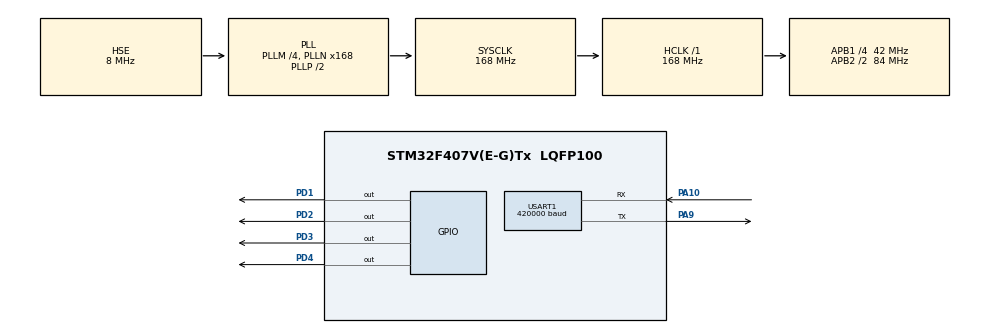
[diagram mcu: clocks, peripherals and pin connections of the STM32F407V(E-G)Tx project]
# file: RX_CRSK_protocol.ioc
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Dma.Request0=USART1_TX
Dma.USART1_TX.0.Direction=DMA_MEMORY_TO_PERIPH
Dma.USART1_TX.0.FIFOMode=DMA_FIFOMODE_DISABLE
Dma.USART1_TX.0.Instance=DMA2_Stream7
Dma.USART1_TX.0.MemDataAlignment=DMA_MDATAALIGN_BYTE
Dma.USART1_TX.0.MemInc=DMA_MINC_ENABLE
Dma.USART1_TX.0.Mode=DMA_NORMAL
Dma.USART1_TX.0.PeriphDataAlignment=DMA_PDATAALIGN_BYTE
Dma.USART1_TX.0.PeriphInc=DMA_PINC_DISABLE
Dma.USART1_TX.0.Priority=DMA_PRIORITY_LOW
Mcu.Family=STM32F4
Mcu.Name=STM32F407V(E-G)Tx
Mcu.Package=LQFP100
NVIC.DMA2_Stream7_IRQn=true\:0\:0\:false\:false\:true\:false\:true\:true
NVIC.PriorityGroup=NVIC_PRIORITYGROUP_4
NVIC.TIM2_IRQn=true\:0\:0\:false\:false\:true\:true\:true\:true
NVIC.USART1_IRQn=true\:0\:0\:false\:false\:true\:true\:true\:true
PA10.Mode=Asynchronous
PA10.Signal=USART1_RX
PA13.Mode=Serial_Wire
PA13.Signal=SYS_JTMS-SWDIO
PA14.Mode=Serial_Wire
PA14.Signal=SYS_JTCK-SWCLK
PA9.Mode=Asynchronous
PA9.Signal=USART1_TX
PD1.Signal=GPIO_Output
PD2.Signal=GPIO_Output
PD3.Signal=GPIO_Output
PD4.Signal=GPIO_Output
PH0-OSC_IN.Mode=HSE-External-Oscillator
PH0-OSC_IN.Signal=RCC_OSC_IN
PH1-OSC_OUT.Mode=HSE-External-Oscillator
PH1-OSC_OUT.Signal=RCC_OSC_OUT
ProjectManager.HeapSize=0x200
ProjectManager.StackSize=0x400
ProjectManager.TargetToolchain=STM32CubeIDE
RCC.48MHZClocksFreq_Value=84000000
RCC.AHBFreq_Value=168000000
RCC.APB1CLKDivider=RCC_HCLK_DIV4
RCC.APB1Freq_Value=42000000
RCC.APB1TimFreq_Value=84000000
RCC.APB2CLKDivider=RCC_HCLK_DIV2
RCC.APB2Freq_Value=84000000
RCC.APB2TimFreq_Value=168000000
RCC.CortexFreq_Value=168000000
RCC.HCLKFreq_Value=168000000
RCC.HSE_VALUE=8000000
RCC.HSI_VALUE=16000000
RCC.LSE_VALUE=32768
RCC.PLLM=4
RCC.PLLN=168
RCC.PLLSourceVirtual=RCC_PLLSOURCE_HSE
RCC.SYSCLKFreq_VALUE=168000000
RCC.SYSCLKSource=RCC_SYSCLKSOURCE_PLLCLK
RCC.VCOOutputFreq_Value=336000000
TIM2.Period=10499
TIM2.Prescaler=7999
USART1.BaudRate=420000
USART1.VirtualMode=VM_ASYNC
VP_TIM2_VS_ClockSourceINT.Mode=Internal
board=custom

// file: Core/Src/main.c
/* USER CODE BEGIN Header */
/**
  ******************************************************************************
  * @file           : main.c
  * @brief          : Main program body
  ******************************************************************************
  * @attention
  *
  * Copyright (c) 2025 STMicroelectronics.
  * All rights reserved.
  *
  * This software is licensed under terms that can be found in the LICENSE file
  * in the root directory of this software component.
  * If no LICENSE file comes with this software, it is provided AS-IS.
  *
  ******************************************************************************
  */
/* USER CODE END Header */
#include "main.h"

/* USER CODE BEGIN Includes */
#include "ring.h"
#include "terseCRSF.h"
#include <string.h>
/* USER CODE END Includes */

/* USER CODE BEGIN PD */
#define UART_RX_BUF_SIZE 512
#define CRSF_FRAME_MAX_LEN 64
#define LED1_GPIO_Port GPIOD
#define LED1_Pin GPIO_PIN_1
#define LED2_GPIO_Port GPIOD
#define LED2_Pin GPIO_PIN_2
/* USER CODE END PD */

TIM_HandleTypeDef htim2;

UART_HandleTypeDef huart1;
DMA_HandleTypeDef hdma_usart1_tx;

/* USER CODE BEGIN PV */
RINGBUF uart_ring;
uint8_t uart_rx_buf[UART_RX_BUF_SIZE];

uint8_t crsf_buf[CRSF_FRAME_MAX_LEN];
uint8_t crsf_index = 0;
uint8_t crsf_frame_len = 0;

volatile uint16_t joystick_raw[CRSF_MAX_CHANNELS];
volatile int16_t joystick_pwm[CRSF_MAX_CHANNELS];

uint8_t uart_rx_byte;
int roll, pitch, yaw, throttle;

volatile uint32_t last_rc_frame_tick = 0;
volatile uint8_t link_connected = 0;

HAL_StatusTypeDef status;
HAL_StatusTypeDef status1;

uint16_t channels[16] = {992, 992, 992, 992, 992, 992, 992, 992, 992, 992, 992, 992, 992, 992, 992, 992};

crsf_battery_t g_battery;
/* USER CODE END PV */

void SystemClock_Config(void);
static void MX_GPIO_Init(void);
static void MX_DMA_Init(void);
static void MX_USART1_UART_Init(void);
static void MX_TIM2_Init(void);
/* USER CODE BEGIN PFP */
void crsf_poll_ringbuf_and_parse(void);
void crsf_process_frame(uint8_t* buf, uint8_t len);
/* USER CODE END PFP */

/* USER CODE BEGIN 0 */
void HAL_UART_RxCpltCallback(UART_HandleTypeDef *huart)
{
	if (huart->Instance == USART1) {
		RINGBUF_Put(&uart_ring, uart_rx_byte);
		HAL_UART_Receive_IT(&huart1, &uart_rx_byte, 1);
	}
}

void crsf_poll_ringbuf_and_parse(void)
{
	uint8_t b;
	while (RINGBUF_Get(&uart_ring, &b) == RING_OK)
	{
		if (crsf_index == 0) {
			if (b == 0xC8 || b == 0xEE) {
				crsf_buf[crsf_index++] = b;
				link_connected = 1;
			}
		}
		else if (crsf_index == 1) {
			crsf_buf[crsf_index++] = b;
			crsf_frame_len = b + 2; // Type + payload + CRC
			if (crsf_frame_len > CRSF_FRAME_MAX_LEN) {
				crsf_index = 0;
			}
		}
		else {
			crsf_buf[crsf_index++] = b;
			if (crsf_index >= crsf_frame_len) {
				if (crsf_check_frame(crsf_buf, crsf_frame_len)) {
					crsf_process_frame(crsf_buf, crsf_frame_len);
				}
				crsf_index = 0;
				crsf_frame_len = 0;
			}
		}
	}
}
void send_crsf_battery(UART_HandleTypeDef *huart, int voltage_mv, int current_ma, int capacity_mah, uint8_t percent)
{
    static uint8_t frame[12];
    uint8_t idx = 0;

    frame[idx++] = 0xC8;    // Sync (Flight Controller)
    frame[idx++] = 0x08;    // Length (type+payload+crc = 1+6+1)
    frame[idx++] = 0x08;    // Type: Battery

    // Voltage: LSB = 10uV
    int16_t v = voltage_mv / 10;  // 1mV = 100uV = 100/10 = 10uV
    frame[idx++] = (v >> 8) & 0xFF;
    frame[idx++] = v & 0xFF;

    // Current: LSB = 10uA
    int16_t c = current_ma * 100;  // 1mA = 100uA = 100*10uA
    frame[idx++] = (c >> 8) & 0xFF;
    frame[idx++] = c & 0xFF;

    // Capacity used: uint24_t (mAh)
    frame[idx++] = (capacity_mah >> 16) & 0xFF;
    frame[idx++] = (capacity_mah >> 8) & 0xFF;
    frame[idx++] = capacity_mah & 0xFF;

    // Remaining percent
    frame[idx++] = percent;

    // CRC8 (t? TYPE d?n h?t PAYLOAD, t?c là 1+6=7 bytes)
    frame[idx++] = crsf_crc8_dvb_s2_sbuf_accum(&frame[2], 7);

    status = HAL_UART_Transmit_DMA(huart, frame, idx);
}

void send_crsf_heartbeat(UART_HandleTypeDef *huart, uint16_t origin_addr)
{
    uint8_t frame[6];
    uint8_t idx = 0;

    frame[idx++] = 0xC8; // Sync byte
    frame[idx++] = 0x03; // Length (type+payload+crc = 1+2+1)
    frame[idx++] = 0x0B; // Type: Heartbeat

    // Origin address (big endian)
    frame[idx++] = (origin_addr >> 8) & 0xFF;
    frame[idx++] = origin_addr & 0xFF;

    // CRC8 (t? TYPE d?n h?t PAYLOAD, t?c là 1+2=3 bytes)
    frame[idx++] = crsf_crc8_dvb_s2_sbuf_accum(&frame[2], 3);

    status1 = HAL_UART_Transmit(huart, frame, idx, 10);
}
void crsf_process_frame(uint8_t* buf, uint8_t len)
{
	if (buf[2] == 0x16 && len >= 25) {  // Frame RC Channel
		uint16_t temp_channels[CRSF_MAX_CHANNELS] = {0};
		crsf_decode_channels(&buf[3], temp_channels);
		for (int i = 0; i < CRSF_MAX_CHANNELS; i++) {
			joystick_raw[i] = temp_channels[i];
			joystick_pwm[i] = ((joystick_raw[i] - 992) * 5 / 8) + 1500;
			last_rc_frame_tick = HAL_GetTick(); // C?p nh?t th?i gian nh?n frame RC cu?i
		}
	}
	else if (buf[2] == 0x08 && len >= 11) {
    crsf_decode_battery(&buf[3], &g_battery);
	}
}

void send_crsf_rc_channels(UART_HandleTypeDef *huart, uint16_t* channels)
{
    static uint8_t frame[26];
    uint8_t idx = 0;
    frame[idx++] = 0xC8;    // Device address (FC)
    frame[idx++] = 0x18;    // Length: 24 bytes payload + 1 type + 1 crc = 26
    frame[idx++] = 0x16;    // Type: RC Channels

    // CRSF: 16 channels, m?i channel 11bit, pack l?i thành 22 bytes
    uint8_t buf[22] = {0};
    uint32_t bitbuffer = 0;
    uint8_t bitlen = 0, bufidx = 0;
    for (int i = 0; i < 16; i++) {
        bitbuffer |= ((channels[i] & 0x07FF) << bitlen);
        bitlen += 11;
        while (bitlen >= 8) {
            buf[bufidx++] = bitbuffer & 0xFF;
            bitbuffer >>= 8;
            bitlen -= 8;
        }
    }
    // Copy 22 bytes RC channels
    for (int i = 0; i < 22; i++) frame[idx++] = buf[i];

    // CRC8 (type + 22 payload = 23 bytes)
    frame[idx++] = crsf_crc8_dvb_s2_sbuf_accum(&frame[2], 23);

    HAL_UART_Transmit_DMA(huart, frame, idx);
}

void HAL_TIM_PeriodElapsedCallback(TIM_HandleTypeDef *htim)
{
	if(htim->Instance == TIM2)
	{
		//send_crsf_battery(&huart1, 11500, 1200, 400, 80);
		//send_crsf_heartbeat(&huart1, 0xC8);
	}
}

/* USER CODE END 0 */

int main(void)
{

  /* MCU Configuration--------------------------------------------------------*/

  /* Reset of all peripherals, Initializes the Flash interface and the Systick. */
  HAL_Init();

  /* Configure the system clock */
  SystemClock_Config();

  /* Initialize all configured peripherals */
  MX_GPIO_Init();
  MX_DMA_Init();
  MX_USART1_UART_Init();
  MX_TIM2_Init();
  /* USER CODE BEGIN 2 */
  RINGBUF_Init(&uart_ring, uart_rx_buf, UART_RX_BUF_SIZE);
  HAL_UART_Receive_IT(&huart1, &uart_rx_byte, 1);
	HAL_TIM_Base_Start_IT(&htim2);
	uint32_t led_timer = 0;
	uint8_t led_state = 0;
  /* USER CODE END 2 */

  /* Infinite loop */
  /* USER CODE BEGIN WHILE */
  while (1)
  {
//	static uint32_t tick_inf  = 0;
//	if(HAL_GetTick() - tick_inf >= 200)
//	{
//		send_crsf_rc_channels(&huart1, channels);
//		tick_inf = HAL_GetTick();
//	}
		crsf_poll_ringbuf_and_parse();

		if (HAL_GetTick() - last_rc_frame_tick > 1000)
    {
			link_connected = 0;
    }
    else
    {
			link_connected = 1;
    }
		if (link_connected == 0)
    {
			if (HAL_GetTick() - led_timer > 200)
			{
				led_timer = HAL_GetTick();
				led_state = !led_state;
				if (led_state)
				{
					HAL_GPIO_WritePin(LED1_GPIO_Port, LED1_Pin, GPIO_PIN_RESET);
					HAL_GPIO_WritePin(LED2_GPIO_Port, LED2_Pin, GPIO_PIN_RESET);
				}
				else
				{
					HAL_GPIO_WritePin(LED1_GPIO_Port, LED1_Pin, GPIO_PIN_SET);
					HAL_GPIO_WritePin(LED2_GPIO_Port, LED2_Pin, GPIO_PIN_SET);
				}
			}
    }
    else
    {
			HAL_GPIO_WritePin(LED1_GPIO_Port, LED1_Pin, GPIO_PIN_SET);
			HAL_GPIO_WritePin(LED2_GPIO_Port, LED2_Pin, GPIO_PIN_RESET);
    }
    /* USER CODE END WHILE */

  }
}

void SystemClock_Config(void)
{
  RCC_OscInitTypeDef RCC_OscInitStruct = {0};
  RCC_ClkInitTypeDef RCC_ClkInitStruct = {0};

  /** Configure the main internal regulator output voltage
  */
  __HAL_RCC_PWR_CLK_ENABLE();
  __HAL_PWR_VOLTAGESCALING_CONFIG(PWR_REGULATOR_VOLTAGE_SCALE1);

  /** Initializes the RCC Oscillators according to the specified parameters
  * in the RCC_OscInitTypeDef structure.
  */
  RCC_OscInitStruct.OscillatorType = RCC_OSCILLATORTYPE_HSE;
  RCC_OscInitStruct.HSEState = RCC_HSE_ON;
  RCC_OscInitStruct.PLL.PLLState = RCC_PLL_ON;
  RCC_OscInitStruct.PLL.PLLSource = RCC_PLLSOURCE_HSE;
  RCC_OscInitStruct.PLL.PLLM = 4;
  RCC_OscInitStruct.PLL.PLLN = 168;
  RCC_OscInitStruct.PLL.PLLP = RCC_PLLP_DIV2;
  RCC_OscInitStruct.PLL.PLLQ = 4;
  if (HAL_RCC_OscConfig(&RCC_OscInitStruct) != HAL_OK)
  {
    Error_Handler();
  }

  /** Initializes the CPU, AHB and APB buses clocks
  */
  RCC_ClkInitStruct.ClockType = RCC_CLOCKTYPE_HCLK|RCC_CLOCKTYPE_SYSCLK
                              |RCC_CLOCKTYPE_PCLK1|RCC_CLOCKTYPE_PCLK2;
  RCC_ClkInitStruct.SYSCLKSource = RCC_SYSCLKSOURCE_PLLCLK;
  RCC_ClkInitStruct.AHBCLKDivider = RCC_SYSCLK_DIV1;
  RCC_ClkInitStruct.APB1CLKDivider = RCC_HCLK_DIV4;
  RCC_ClkInitStruct.APB2CLKDivider = RCC_HCLK_DIV2;

  if (HAL_RCC_ClockConfig(&RCC_ClkInitStruct, FLASH_LATENCY_5) != HAL_OK)
  {
    Error_Handler();
  }
}

static void MX_TIM2_Init(void)
{

  TIM_ClockConfigTypeDef sClockSourceConfig = {0};
  TIM_MasterConfigTypeDef sMasterConfig = {0};

  htim2.Instance = TIM2;
  htim2.Init.Prescaler = 7999;
  htim2.Init.CounterMode = TIM_COUNTERMODE_UP;
  htim2.Init.Period = 10499;
  htim2.Init.ClockDivision = TIM_CLOCKDIVISION_DIV1;
  htim2.Init.AutoReloadPreload = TIM_AUTORELOAD_PRELOAD_DISABLE;
  if (HAL_TIM_Base_Init(&htim2) != HAL_OK)
  {
    Error_Handler();
  }
  sClockSourceConfig.ClockSource = TIM_CLOCKSOURCE_INTERNAL;
  if (HAL_TIM_ConfigClockSource(&htim2, &sClockSourceConfig) != HAL_OK)
  {
    Error_Handler();
  }
  sMasterConfig.MasterOutputTrigger = TIM_TRGO_RESET;
  sMasterConfig.MasterSlaveMode = TIM_MASTERSLAVEMODE_DISABLE;
  if (HAL_TIMEx_MasterConfigSynchronization(&htim2, &sMasterConfig) != HAL_OK)
  {
    Error_Handler();
  }

}

static void MX_USART1_UART_Init(void)
{

  huart1.Instance = USART1;
  huart1.Init.BaudRate = 420000;
  huart1.Init.WordLength = UART_WORDLENGTH_8B;
  huart1.Init.StopBits = UART_STOPBITS_1;
  huart1.Init.Parity = UART_PARITY_NONE;
  huart1.Init.Mode = UART_MODE_TX_RX;
  huart1.Init.HwFlowCtl = UART_HWCONTROL_NONE;
  huart1.Init.OverSampling = UART_OVERSAMPLING_16;
  if (HAL_UART_Init(&huart1) != HAL_OK)
  {
    Error_Handler();
  }

}

static void MX_DMA_Init(void)
{

  /* DMA controller clock enable */
  __HAL_RCC_DMA2_CLK_ENABLE();

  /* DMA interrupt init */
  /* DMA2_Stream7_IRQn interrupt configuration */
  HAL_NVIC_SetPriority(DMA2_Stream7_IRQn, 0, 0);
  HAL_NVIC_EnableIRQ(DMA2_Stream7_IRQn);

}

static void MX_GPIO_Init(void)
{
  GPIO_InitTypeDef GPIO_InitStruct = {0};

  /* GPIO Ports Clock Enable */
  __HAL_RCC_GPIOH_CLK_ENABLE();
  __HAL_RCC_GPIOA_CLK_ENABLE();
  __HAL_RCC_GPIOD_CLK_ENABLE();

  /*Configure GPIO pin Output Level */
  HAL_GPIO_WritePin(GPIOD, GPIO_PIN_1|GPIO_PIN_2, GPIO_PIN_RESET);

  /*Configure GPIO pins : PD1 PD2 */
  GPIO_InitStruct.Pin = GPIO_PIN_1|GPIO_PIN_2;
  GPIO_InitStruct.Mode = GPIO_MODE_OUTPUT_PP;
  GPIO_InitStruct.Pull = GPIO_NOPULL;
  GPIO_InitStruct.Speed = GPIO_SPEED_FREQ_LOW;
  HAL_GPIO_Init(GPIOD, &GPIO_InitStruct);

}

void Error_Handler(void)
{
  __disable_irq();
  while (1)
  {
  }
}
